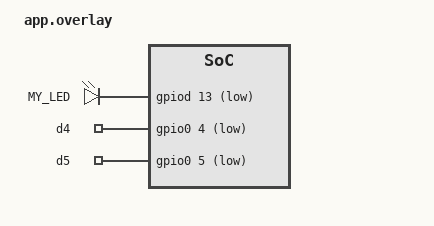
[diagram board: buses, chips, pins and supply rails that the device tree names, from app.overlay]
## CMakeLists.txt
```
# SPDX-License-Identifier: Apache-2.0

cmake_minimum_required(VERSION 3.20.0)

## adding board root (with boards folder)
set(BOARD_ROOT ${CMAKE_SOURCE_DIR}/../..)
set(BOARD fmuk64f)


## adding drivers root (location of module's CMakeList)
set(ZEPHYR_EXTRA_MODULES ${CMAKE_SOURCE_DIR}/../..)


find_package(Zephyr REQUIRED HINTS $ENV{ZEPHYR_BASE})
project(blinky)


## target_sources(app PRIVATE src/main.c)
FILE(GLOB app_sources src/*.c)
target_sources(app PRIVATE ${app_sources})
```

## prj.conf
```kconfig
CONFIG_GPIO=y
CONFIG_SERIAL=y
CONFIG_PRINTK=y
CONFIG_CONSOLE=y
CONFIG_STDOUT_CONSOLE=y
CONFIG_LOG=y
CONFIG_LOG_DEFAULT_LEVEL=4

## My GPIO Setting
CONFIG_M_GPIO=y

CONFIG_USB_CDC_ACM=y

## My USB Setting  
CONFIG_M_USBD=y
CONFIG_M_USBD_VID=0x2FE3
CONFIG_M_USBD_PID=0x0110
CONFIG_M_USBD_PRODUCT="M USBD PROD"
CONFIG_M_USBD_MANUFACTURER="M USBD MFG"

CONFIG_USBD_CDC_ACM_CLASS=y
CONFIG_USB_DEVICE_STACK_NEXT=y
## Initialize USB Device at boot
CONFIG_USB_DEVICE_INITIALIZE_AT_BOOT=y


# CONFIG_UART_CDC_ACM=y
# CONFIG_UART_LINE_CTRL=y
## Disable UART console
# CONFIG_UART_CONSOLE=n
# CONFIG_USB_CDC_ACM_CONSOLE=y
```

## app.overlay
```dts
/ {
    aliases {
        led0 = &mg_led0;
        btn0 = &mg_button0;
        btn1 = &mg_button1;
    };

    /*********************************/
    mg_leds {
        compatible = "gpio-leds";
        min_led0: led_0 {
            gpios = <&gpiod 13 GPIO_ACTIVE_LOW>;
            label = "MY_LED";
        };
    };

    /*********************************/
    mg_buttons {
        mg_button0: button_0 {
            compatible = "min,button";
            pin = <&d4>;
        };

        min_button1: button_1 {
            compatible = "min,button";
            pin = <&d5>;
        };
    };

    gpio_keys {
        compatible = "gpio-keys";
        deboune-interval-ms = <50>;
        polling-mode;

        d4: gpio4 {
            gpios = <&gpio0 4 (GPIO_ACTIVE_LOW | GPIO_PULL_UP)>;
        };
        d5: gpio5 {
            gpios = <&gpio0 5 (GPIO_ACTIVE_LOW | GPIO_PULL_UP)>;
        };
    };


};
```

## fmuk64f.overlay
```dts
/ {
    aliases {
        my_led0 = &mz_led_0;
        my_sw0 = &mz_button_0;
    };


    /*********************************/
    /** ? use compatible = "m_gpio" instead of "gpio-keys" ? */
    
    m_leds {        
        compatible = "gpio-leds";
        mz_led_0: led_0 {
            gpios = <&gpioe 26 GPIO_ACTIVE_LOW>;
            label = "MZ_LED0";
        };
    };

    m_buttons {
        compatible = "gpio-keys";   
        deboune-interval-ms = <50>;
        polling-mode;     
        mz_button_0: button_0 {
            gpios = <&gpioc 6 (GPIO_ACTIVE_LOW | GPIO_PULL_UP);
            zephyr,code = <INPUT_KEY_0>;
            label = "MZ_BUTTON0";
        };
    };

};
```

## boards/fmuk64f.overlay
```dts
/ {
    chosen {
        zephyr,console = &cdc_acm_uart0;
    };

    aliases {
        myled0 = &m_led0;
        mysw0 = &m_button0;
    };

    m_leds {        
        m_led0: led0 {
            compatible = "m,gpio";
            pin = <&user_led0>;
        };
    };    

    m_buttons {        
        m_button0: button0 {
            compatible = "m,gpio";
            pin = <&user_button0>;
        };
    };
   
    overlay_leds {        
        compatible = "gpio-leds";

        user_led0: led_0 {
            label = "Led0 b22";
            gpios = <&gpiob 22 GPIO_ACTIVE_LOW>;
        };
    };

    overlay_gpio_keys {
        compatible = "gpio-keys";   
    /*    deboune-interval-ms = <50>;   */
    /*    polling-mode;                 */

        user_button0: button_0 {
            label = "Button0 c6";
            gpios = <&gpioc 6 (GPIO_ACTIVE_LOW | GPIO_PULL_UP)>;
        };
    };

};

&zephyr_udc0 {
    cdc_acm_uart0: cdc_acm_uart0 {
        compatible = "zephyr,cdc-acm-uart";
        label = "USB CDC ACM";
    };
};
```

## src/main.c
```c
/*
 * Copyright (c) 2016 Intel Corporation
 *
 * SPDX-License-Identifier: Apache-2.0
 */

#include <stdio.h>
#include <zephyr/kernel.h>
#include <zephyr/sys/printk.h>
#include <zephyr/logging/log.h>

#include "m_gpio.h"
// #include "m_usbd.h"

LOG_MODULE_REGISTER(main, LOG_LEVEL_INF);


// Multi-thread define -------------------------------
#define SLEEP_TIME_MS   1000
#define MY_THREAD_STACK_SIZE	256

// Define Stack areas for threads
K_THREAD_STACK_DEFINE(stack_led0, MY_THREAD_STACK_SIZE);
static struct k_thread thread_led0;

K_THREAD_STACK_DEFINE(stack_sw0, MY_THREAD_STACK_SIZE);
static struct k_thread thread_sw0;

// Binary semaphore(initial count 0, limit 1)
K_SEM_DEFINE(my_sem, 0, 1)


// USB Device -----------------------------------------------
// #define DEV_USB_CDC		DT_CHOSEN(zephyr_console)
// BUILD_ASSERT(DT_NODE_HAS_COMPAT(DEV_USB_CDC, zephyr_cdc_acm),
// 			"Console device is not ACM CDC");
// static const struct device *const dev_usb = DEVICE_DT_GET(DEV_USB_CDC);

// LED, Switch Device ---------------------------------------
#define DEV_SW0		DT_ALIAS(mysw0)
static const struct device *dev_sw0 = DEVICE_DT_GET(DEV_SW0);
#define DEV_LED0	DT_ALIAS(myled0)
static const struct device *dev_led0 = DEVICE_DT_GET(DEV_LED0);

// Public func -------------------------------
// m_gpio_state_t led0_state = OFF;



void thread_sw0_func(void arg1, void arg2, void arg3)
{
	int ret;
	int sw_state = 0;
	
	if (!device_is_ready(dev_sw0)) {
		printk("ERROR:SW0 is not ready\n");
		return;
	}
	const struct m_gpio_api *sw0_api = (const struct m_gpio_api*)dev_sw0->api;
	//const struct switch_data *sw0_data = (const struct switch_data*)dev_sw0->data;
	
	while(1) {
		ret = sw0_api->get(dev_sw0, &sw_state);
		if (ret < 0) {
			printk("ERROR:SW0(%d) failed to get\n", ret);
		} else {
			printk("Switch-get: %d\n", sw_state);
			if (sw_state) led_state_set(TOGGLE);
		}
		k_msleep(SLEEP_TIME_MS);
	}
}

void thread_led0_func(void arg1, void arg2, void arg3)
{
	int ret;

	if (!device_is_ready(dev_led0)) {
		printk("ERROR:LED0 is not ready\n)");
		return;
	}
	const struct m_gpio_api *led0_api = (const struct m_gpio_api*)dev_led0->api;
	//const struct led_data *led0_data = (const struct led_data)dev_led0->data;
	while(1) {
		printk("Hello blinky\n");
		
		switch (led0_state) {
			case OFF:
				ret = led0_api->set(dev_led0, M_GPIO_OFF):
				if (ret < 0) {
					printk("ERROR(%d) failed to set led0\n", ret);
				}				
				break;
			case ON:
				ret = led0_api->set(dev_led0, M_GPIO_ON);
				if (ret < 0) {
					printk("ERROR(%d) failed to clear led0\n", ret);
				}
				break;
			case TOGGLE:
				ret = led0_api->toggle(dev_sw0);
				if (ret < 0) {
					printk("ERROR(%d) failed to toggle led0\n", ret);
				}
				break;
			default:								
		}
		led0_state = NULL;

		// Sleep
		k_msleep(SLEEP_TIME_MS);
	}
	
}


int main(void)
{
	k_tid_t tid_led0, tid_sw0;

	// Start thread
	tid_led0 = k_thread_create(&thread_led0, 	// Thread struct
							stack_led0,			// stack
							K_THREAD_STACK_SIZE(stack_led0),
							thread_led0_func,	// Entry function
							NULL, NULL, NULL,	// arg1, arg2, arg3
							7,					// high priority
							0, 					// options
							K_NO_WAIT);			// Delay

	tid_sw0 = k_thread_create(&thread_sw0,		// Thread struct
							stack_sw0,			// stack
							K_THREAD_STACK_SIZE(stack_sw0),
							thread_sw0_func,	// Entry function
							NULL, NULL, NULL,	// arg1, arg2, arg3
							8,					// low priority
							0, 					// options
							K_NO_WAIT);			// Delay
	while(1) {
		printk("Hello blinky\n");
		
		// Sleep
		k_msleep(SLEEP_TIME_MS);
	}

	return 0;
}
```

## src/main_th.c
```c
#include <stdio.h>
#include <zephyr/kernel.h>
#include <zephyr/sys/printk.h>
#include <zephyr/logging/log.h>
LOG_MODULE_REGISTER(main, LOG_LEVEL_INF);

#define TIME_1000MS             1000
#define MY_STACK_SIZE           256
#define MY_TASK_PRIORITY        5

#define MY_DEV_IRQ              24
#define MY_DEV_PRIO             2

/// @brief define semaphore  
K_SEM_DEFINE(led_sem, 0, 1); //name, init-count, limit)

/// @brief define stack 
K_THREAD_STACK_DEFINE(led_stack, MY_STACK_SIZE);
struct k_thread led_thread;

struct device_info {
    struct k_mutex mutex;    
    struct k_work work;
    struct k_timer timer;
    char name[16];
} mydevice;

/// gpio from device tree
static const struct gpio_dt_spec = GPIO_DT_SPEC_GET(DT_ALIAS(my_button), gpios);
static struct gpio_callback btn_cb_data;

void gpio_isr_handler(const struct device *dev, struct gpio_callback *cb, uint32_t pins)
{
    if(BIT(btn.pin) & pins) {
        printk("button %d pressed\n",btn.pin);
    }
}

/// @brief working thread handler
/// @param item 
void work_handler(struct k_work *item)
{
    struct device_info *mydev = CONTAINER_OF(item, struct devcie_info, work);
    
    k_mutex_lock(&mydev->mutex, K_FOREVER);
    printk("device name:%s\n",mydev->name);
    k_mutex_unlock(&mydev->mutex);
}

/// @brief timer ISR, call work thread
/// @param item 
void timer_handler(struct k_timer *item)
{
    if (item == &mydevice.timer) {
        // dump to working thread
        k_work_submit(&mydevice->work);
    }
}
///

void led_task(void *arg1, void *arg2, void *arg3)
{
    while(1) {
        k_sem_take(&led_sem, K_FOREVER);
        print("do something...\n");
        k_sem_give(&led_sem); // Release semaphore        

        // k_msleep(TIME_1000MS);
    }
}

/// @brief 
/// @param  
/// @return 
int main(void)
{
    int ret;
    if (!gpio_is_ready_dt(&btn)){
        return 0;
    }
    ret = gpio_pin_configure_dt(&btn, GPIO_INPUT);
    ret = gpio_pin_interrupt_configure_dt(&btn, GPIO_INT_EDGE_TO_ACTIVE);
    gpio_init_callback(&btn_cb_data, gpio_isr_handler, BIT(btn.pin));
    gpio_add_callback(btn.port, &btn_cb_data);


    strcpy(mydevice.name, "led-switch");
    k_mutex_init(&mydevice.mutex);
    k_work_init(&mydevice.work, work_handler);
    k_timer_init(&mydevice.timer, timer_handler, NULL);
    
    
    k_tid_t led_tid = k_thread__create(&led_thread,
                                    led_stack,
                                    MY_STACK_SIZE,
                                    led_task, NULL, NULL, NULL,
                                    MY_TASK_PRIORITY,
                                    0, 0); /* option, no-delay */

    /// start periodic timer (timer, duration(before-calling), period(every 1 sec))    
    k_timer_start(&mydevice.timer, K_SECOND(1), k_SECONDS(1));
    
    print("Hello blinky\n");
    while(1) {
                
        k_sem_give(&led_sem); // Signal to 

        k_msleep(TIME_1000MS);
    }
    return 0;
}
```
